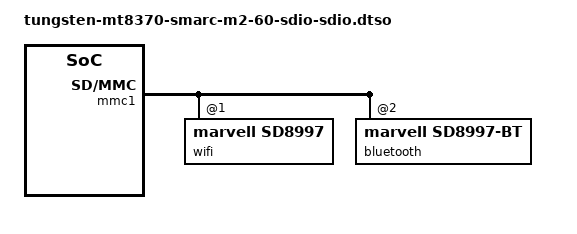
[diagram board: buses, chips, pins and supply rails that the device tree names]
// SPDX-License-Identifier: (GPL-2.0+ OR MIT)
/*
 * SDIO 60 SDIO-SDIO module
 *
 * Copyright (C) 2026 Ezurio LLC
 */

/dts-v1/;
/plugin/;

// M.2 SDIO is disabled by default on SMARC carrier board
// requires switching 0 Ohm resistors to enable	

&reg_mmc1_en {
	vin-supply = <&reg_slow_clock_carrier>;

	startup-delay-us = <1000>;
	off-on-delay-us = <100000>;
};

&mmc1 {

	#address-cells = <1>;
	#size-cells = <0>;

	wifi@1 {
		reg = <1>;
		compatible = "marvell,sd8997";
		fwtype = "sdio-sdio";
	};

	bluetooth@2 {
		reg = <2>;
		compatible = "marvell,sd8997-bt";
	};
};
